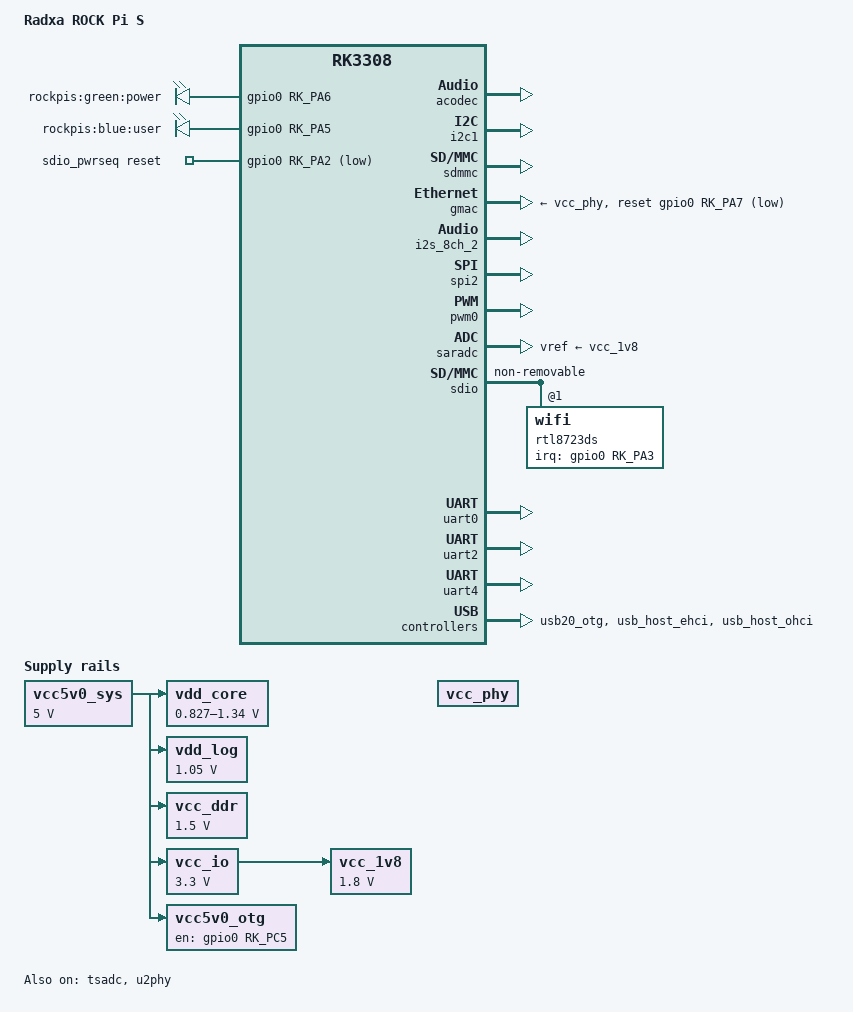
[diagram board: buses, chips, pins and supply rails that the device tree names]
// SPDX-License-Identifier: (GPL-2.0+ OR MIT)
/*
 * Copyright (c) 2019 Akash Gajjar <akash@openedev.com>
 * Copyright (c) 2019 Jagan Teki <jagan@openedev.com>
 */

/dts-v1/;
#include "rk3308.dtsi"

/ {
	model = "Radxa ROCK Pi S";
	compatible = "radxa,rockpis", "rockchip,rk3308";

	chosen {
		stdout-path = "serial2:1500000n8";
	};

	leds {
		compatible = "gpio-leds";
		pinctrl-names = "default";
		pinctrl-0 = <&green_led_gio>, <&heartbeat_led_gpio>;

		green-led {
			label = "rockpis:green:power";
			gpios = <&gpio0 RK_PA6 GPIO_ACTIVE_HIGH>;
			linux,default-trigger = "default-on";
			default-state = "on";
		};

		blue-led {
			label = "rockpis:blue:user";
			gpios = <&gpio0 RK_PA5 GPIO_ACTIVE_HIGH>;
			default-state = "on";
			linux,default-trigger = "heartbeat";
		};
	};

	codec: acodec-sound {
			compatible = "simple-audio-card";
			simple-audio-card,format = "i2s";
			simple-audio-card,name = "rockchip,rk3308-acodec";
			simple-audio-card,mclk-fs = <256>;
			simple-audio-card,codec-hp-det;
			simple-audio-card,widgets =
				"Headphone", "Headphones";
			simple-audio-card,cpu {
				sound-dai = <&i2s_8ch_2>;
			};
			simple-audio-card,codec {
				sound-dai = <&acodec>;
			};
	};

	sound {
		compatible = "simple-audio-card";
		simple-audio-card,format = "i2s";
		simple-audio-card,mclk-fs = <256>;
		simple-audio-card,name = "i2s_8ch_0";

		simple-audio-card,dai-link@1 {
			format = "i2s";
			cpu {
				sound-dai = <&i2s_8ch_0>;
			};

			codec {
				sound-dai = <&pcm5102a>;
			};
		};
	};

	pcm5102a: pcm5102a {
			#sound-dai-cells = <0>;
			compatible = "ti,pcm5102a";
			pcm510x,format = "i2s";
	};

	sdio_pwrseq: sdio-pwrseq {
		compatible = "mmc-pwrseq-simple";
		pinctrl-names = "default";
		pinctrl-0 = <&wifi_enable_h>;
    /*
		 * On the module itself this is one of these (depending
		 * on the actual card populated):
		 * - SDIO_RESET_L_WL_REG_ON
		 * - PDN (power down when low)
		 */
		reset-gpios = <&gpio0 RK_PA2 GPIO_ACTIVE_LOW>;
	};

	vcc5v0_sys: vcc5v0-sys {
		compatible = "regulator-fixed";
		regulator-name = "vcc5v0_sys";
		regulator-always-on;
		regulator-boot-on;
		regulator-min-microvolt = <5000000>;
		regulator-max-microvolt = <5000000>;
	};

	vdd_core: vdd-core {
		compatible = "pwm-regulator";
		pwms = <&pwm0 0 5000 1>;
		regulator-name = "vdd_core";
		regulator-min-microvolt = <827000>;
		regulator-max-microvolt = <1340000>;
		regulator-init-microvolt = <1015000>;
		regulator-settling-time-up-us = <250>;
		regulator-always-on;
		regulator-boot-on;
		pwm-supply = <&vcc5v0_sys>;
	};

	vdd_log: vdd-log {
		compatible = "regulator-fixed";
		regulator-name = "vdd_log";
		regulator-always-on;
		regulator-boot-on;
		regulator-min-microvolt = <1050000>;
		regulator-max-microvolt = <1050000>;
		vin-supply = <&vcc5v0_sys>;
	};

	vcc_ddr: vcc-ddr {
		compatible = "regulator-fixed";
		regulator-name = "vcc_ddr";
		regulator-always-on;
		regulator-boot-on;
		regulator-min-microvolt = <1500000>;
		regulator-max-microvolt = <1500000>;
		vin-supply = <&vcc5v0_sys>;
	};

	vcc_1v8: vcc-1v8 {
		compatible = "regulator-fixed";
		regulator-name = "vcc_1v8";
		regulator-always-on;
		regulator-boot-on;
		regulator-min-microvolt = <1800000>;
		regulator-max-microvolt = <1800000>;
		vin-supply = <&vcc_io>;
	};

	vcc_io: vcc-io {
		compatible = "regulator-fixed";
		regulator-name = "vcc_io";
		regulator-always-on;
		regulator-boot-on;
		regulator-min-microvolt = <3300000>;
		regulator-max-microvolt = <3300000>;
		vin-supply = <&vcc5v0_sys>;
	};

  vcc_phy: vcc-phy-regulator {
		compatible = "regulator-fixed";
		regulator-name = "vcc_phy";
		regulator-always-on;
		regulator-boot-on;
	};

	vcc5v0_otg: vcc5v0-otg {
		compatible = "regulator-fixed";
		regulator-name = "vcc5v0_otg";
		regulator-always-on;
		gpio = <&gpio0 RK_PC5 GPIO_ACTIVE_HIGH>;
		enable-active-high;
		pinctrl-names = "default";
		pinctrl-0 = <&otg_vbus_drv>;
		vin-supply = <&vcc5v0_sys>;
	};

  // wireless-wlan {
  //   compatible = "wlan-platdata";
  //   rockchip,grf = <&grf>;
  //   clocks = <&cru SCLK_WIFI>;
  //   clock-names = "clk_wifi";
  //   ref-clock-frequency = <24000000>;
  //   pinctrl-names = "default";
  //   pinctrl-0 = <&wifi_host_wake>;
  //   wifi_chip_type = "rtl8723ds";
  //   WIFI,host_wake_irq = <&gpio0 RK_PA0 GPIO_ACTIVE_HIGH>;
  //   status = "okay";
  // };
};

&acodec {
	status = "okay";
	#sound-dai-cells = <0>;
};

&cpu0 {
	cpu-supply = <&vdd_core>;
};

&cpu0_opp_table {
	opp-1200000000 {
		status = "okay";
	};
	opp-1296000000 {
		status = "okay";
	};
};

&emmc {
	bus-width = <4>;  // Confirm if right value - <8>
	cap-mmc-highspeed;
	mmc-hs200-1_8v;
	/* supports-sd; */
	/* disable-wp; */
	non-removable;
	/* num-slots = <1>; */
	/* please provide actual vmmc and vqmmc supplies
	vin is not a valid supply for emmcs */
	vin-supply = <&vcc_io>;
	status = "disabled";
};

&i2c1 {
	status = "okay";
};

&sdmmc {
	/* bus-width = <4>; */
	cap-mmc-highspeed;
	cap-sd-highspeed;
	/* max-frequency = <150000000>; */
	/* supports-sd; */
	disable-wp;
	/* num-slots = <1>; */
	pinctrl-0 = <&sdmmc_clk &sdmmc_cmd &sdmmc_det &sdmmc_bus4>;
	card-detect-delay = <800>; // Confirm if right value - <200>
	status = "okay";
};

&gmac {
	phy-supply = <&vcc_phy>;
	clock_in_out = "output";
	assigned-clocks = <&cru SCLK_MAC>;
	assigned-clock-parents = <&cru SCLK_MAC_SRC>;
	snps,reset-gpio = <&gpio0 RK_PA7 GPIO_ACTIVE_LOW>;
	snps,reset-active-low;
	snps,reset-delays-us = <0 50000 50000>;
	status = "okay";
};

&i2s_8ch_0 {
	assigned-clocks = <&cru SCLK_I2S0_8CH_RX>;
	assigned-clock-parents = <&cru SCLK_I2S0_8CH_TX_MUX>;
	rockchip,clk-trcm = <1>;
	#sound-dai-cells = <0>;
};

&i2s_8ch_2 {
	status = "okay";
	#sound-dai-cells = <0>;
};

&spi2 {
	status = "okay";
	max-freq = <10000000>;
};

&pinctrl {
	pinctrl-names = "default";
	pinctrl-0 = <&rtc_32k>;

	leds {
		green_led_gio: green-led-gpio {
			rockchip,pins = <0 RK_PA6 RK_FUNC_GPIO &pcfg_pull_none>;
		};

		heartbeat_led_gpio: heartbeat-led-gpio {
			rockchip,pins = <0 RK_PA5 RK_FUNC_GPIO &pcfg_pull_none>;
		};
	};

	usb {
		otg_vbus_drv: otg-vbus-drv {
			rockchip,pins = <0 RK_PC5 RK_FUNC_GPIO &pcfg_pull_none>;
		};
	};

	sdio-pwrseq {
		wifi_enable_h: wifi-enable-h {
			rockchip,pins = <0 RK_PA2 RK_FUNC_GPIO &pcfg_pull_none>;
		};
	};

	wifi {
		wifi_host_wake: wifi-host-wake {
			rockchip,pins = <0 RK_PA0 RK_FUNC_GPIO &pcfg_pull_down>;
		};
	};
};

&pwm0 {
	status = "okay";
	pinctrl-0 = <&pwm0_pin_pull_down>;
};

&saradc {
	vref-supply = <&vcc_1v8>;
	status = "okay";
};

&sdio {
	#address-cells = <1>;
	#size-cells = <0>;
	/* bus-width = <4>;  */
	max-frequency = <1000000>;
	cap-sd-highspeed;
	cap-sdio-irq;
	/* supports-sdio; */
	keep-power-in-suspend;
	mmc-pwrseq = <&sdio_pwrseq>;
	non-removable;
	sd-uhs-sdr104;
	status = "okay";

	rtl8723ds: wifi@1 {
		interrupt-parent = <&gpio0>;
		interrupts = <RK_PA3 GPIO_ACTIVE_HIGH>;
		interrupt-names = "host-wake";
		pinctrl-names = "default";
		pinctrl-0 = <&wifi_host_wake>;
	};
};

&tsadc {
	rockchip,hw-tshut-mode = <0>;		/* 0:CRU */
	rockchip,hw-tshut-polarity = <1>;	/* 1:HIGH */
	status = "okay";
};

&uart0 {
	status = "okay";
};

&uart2 {
	status = "okay";
};

&uart4 {
	pinctrl-names = "default";
	pinctrl-0 = <&uart4_xfer &uart4_rts &uart4_cts>;
	status = "okay";
};

&u2phy {
	status = "okay";

	u2phy_host: host-port {
		phy-supply = <&vcc5v0_otg>;
		status = "okay";
	};

	u2phy_otg: otg-port {
		status = "okay";
	};
};

&usb20_otg {
	status = "okay";
};

&usb_host_ehci {
	status = "okay";
};

&usb_host_ohci{
	status = "okay";
};
